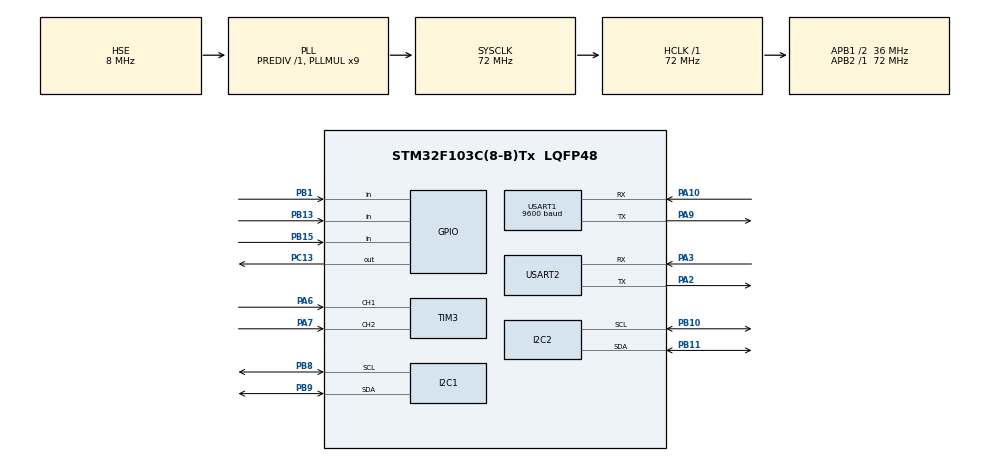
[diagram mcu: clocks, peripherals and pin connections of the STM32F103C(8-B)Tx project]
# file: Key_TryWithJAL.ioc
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Dma.Request0=USART2_TX
Dma.USART2_TX.0.Direction=DMA_MEMORY_TO_PERIPH
Dma.USART2_TX.0.Instance=DMA1_Channel7
Dma.USART2_TX.0.MemDataAlignment=DMA_MDATAALIGN_BYTE
Dma.USART2_TX.0.MemInc=DMA_MINC_ENABLE
Dma.USART2_TX.0.Mode=DMA_CIRCULAR
Dma.USART2_TX.0.PeriphDataAlignment=DMA_PDATAALIGN_BYTE
Dma.USART2_TX.0.PeriphInc=DMA_PINC_DISABLE
Dma.USART2_TX.0.Priority=DMA_PRIORITY_HIGH
Mcu.Family=STM32F1
Mcu.Name=STM32F103C(8-B)Tx
Mcu.Package=LQFP48
NVIC.DMA1_Channel7_IRQn=true\:0\:0\:false\:false\:true\:false\:true\:true
NVIC.PriorityGroup=NVIC_PRIORITYGROUP_2
NVIC.TIM1_UP_IRQn=true\:1\:1\:true\:false\:true\:true\:true\:true
NVIC.USART1_IRQn=true\:1\:1\:true\:false\:true\:true\:true\:true
PA10.GPIO_PuPd=GPIO_PULLUP
PA10.Mode=Asynchronous
PA10.Signal=USART1_RX
PA13.Mode=Serial_Wire
PA13.Signal=SYS_JTMS-SWDIO
PA14.Mode=Serial_Wire
PA14.Signal=SYS_JTCK-SWCLK
PA2.Mode=Asynchronous
PA2.Signal=USART2_TX
PA3.GPIO_PuPd=GPIO_PULLUP
PA3.Mode=Asynchronous
PA3.Signal=USART2_RX
PA6.Signal=S_TIM3_CH1
PA7.Signal=S_TIM3_CH2
PA9.Mode=Asynchronous
PA9.Signal=USART1_TX
PB1.GPIO_PuPd=GPIO_PULLUP
PB1.Signal=GPIO_Input
PB10.Mode=I2C
PB10.Signal=I2C2_SCL
PB11.Mode=I2C
PB11.Signal=I2C2_SDA
PB13.GPIO_PuPd=GPIO_PULLDOWN
PB13.Signal=GPIO_Input
PB15.GPIO_PuPd=GPIO_PULLDOWN
PB15.Signal=GPIO_Input
PB8.Mode=I2C
PB8.Signal=I2C1_SCL
PB9.Mode=I2C
PB9.Signal=I2C1_SDA
PC13-TAMPER-RTC.Signal=GPIO_Output
PD0-OSC_IN.Mode=HSE-External-Oscillator
PD0-OSC_IN.Signal=RCC_OSC_IN
PD1-OSC_OUT.Mode=HSE-External-Oscillator
PD1-OSC_OUT.Signal=RCC_OSC_OUT
ProjectManager.HeapSize=0x200
ProjectManager.StackSize=0x400
ProjectManager.TargetToolchain=MDK-ARM V5.32
RCC.AHBFreq_Value=72000000
RCC.APB1CLKDivider=RCC_HCLK_DIV2
RCC.APB1Freq_Value=36000000
RCC.APB1TimFreq_Value=72000000
RCC.APB2Freq_Value=72000000
RCC.APB2TimFreq_Value=72000000
RCC.HCLKFreq_Value=72000000
RCC.PLLMUL=RCC_PLL_MUL9
RCC.PLLSourceVirtual=RCC_PLLSOURCE_HSE
RCC.SYSCLKFreq_VALUE=72000000
RCC.SYSCLKSource=RCC_SYSCLKSOURCE_PLLCLK
RCC.USBFreq_Value=72000000
SH.S_TIM3_CH1.0=TIM3_CH1,Encoder_Interface
SH.S_TIM3_CH2.0=TIM3_CH2,Encoder_Interface
TIM1.AutoReloadPreload=TIM_AUTORELOAD_PRELOAD_ENABLE
TIM1.Period=999
TIM1.Prescaler=71
TIM2.AutoReloadPreload=TIM_AUTORELOAD_PRELOAD_ENABLE
TIM2.Prescaler=71
TIM3.EncoderMode=TIM_ENCODERMODE_TI12
TIM3.IC1Filter=15
TIM3.IC2Filter=15
USART1.BaudRate=9600
USART1.VirtualMode=VM_ASYNC
USART2.VirtualMode=VM_ASYNC
VP_TIM1_VS_ClockSourceINT.Mode=Internal
VP_TIM2_VS_ClockSourceINT.Mode=Internal
board=custom

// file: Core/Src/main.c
/* USER CODE BEGIN Header */
/**
 ******************************************************************************
 * @file           : main.c
 * @brief          : Main program body
 ******************************************************************************
 * @attention
 *
 * Copyright (c) 2026 STMicroelectronics.
 * All rights reserved.
 *
 * This software is licensed under terms that can be found in the LICENSE file
 * in the root directory of this software component.
 * If no LICENSE file comes with this software, it is provided AS-IS.
 *
 ******************************************************************************
 */
/* USER CODE END Header */
#include "main.h"
#include "dma.h"
#include "i2c.h"
#include "tim.h"
#include "usart.h"
#include "gpio.h"

/* USER CODE BEGIN Includes */
#include "string.h"
#include <math.h>
#include <stdlib.h>
#include "OLED.h"
#include "key.h"
#include "BLE_Serial.h"
#include "MPU6050.h"
#include "vofa.h"
#include "Encoder.h"
#include "bsp_dwt.h"
/* USER CODE END Includes */

/* USER CODE BEGIN PV */
uint16_t Num1;
uint16_t Num2;
uint8_t ID;                     // 定义用于存放ID号的变量
int16_t AX, AY, AZ, GX, GY, GZ; // 定义用于存放各个数据的变量
int16_t speed;
uint16_t count;
		static int32_t c = 0;
/* USER CODE END PV */

void SystemClock_Config(void);

/* USER CODE BEGIN 0 */
void HAL_TIM_PeriodElapsedCallback(TIM_HandleTypeDef *htim)
{
  if (htim->Instance == TIM1)
  {

		c++;
    Key_Tick(); // 例如：1ms调用一次按键扫描
    count++;
    if (count == 1000)
    {
      speed = Encoder_Get(); // 轮速计测量
      count = 0;
    }
  }
}
/* USER CODE END 0 */

int main(void)
{

  /* MCU Configuration--------------------------------------------------------*/

  /* Reset of all peripherals, Initializes the Flash interface and the Systick. */
  HAL_Init();

  /* Configure the system clock */
  SystemClock_Config();

  /* Initialize all configured peripherals */
  MX_GPIO_Init();
  MX_DMA_Init();
  MX_TIM1_Init();
  MX_I2C1_Init();
  MX_USART1_UART_Init();
  MX_TIM2_Init();
  MX_I2C2_Init();
  MX_USART2_UART_Init();
  MX_TIM3_Init();
  /* USER CODE BEGIN 2 */
  HAL_TIM_Base_Start_IT(&htim1); // 启动TIM1
  HAL_TIM_Base_Start(&htim2);    // 启动TIM2
  OLED_GPIO_ForceInit();
  OLED_Init();
  BLE_Serial_Init();
  MPU6050_Init();
  Encoder_Init();
	DWT_Init(72);
  /* USER CODE END 2 */

  /* Infinite loop */
  /* USER CODE BEGIN WHILE */
  while (1)
  {
		OLED_Printf(0,0,OLED_8X16, "按");
//		uint32_t cnt = DWT->CYCCNT;
//	  OLED_Printf(0, 0, OLED_8X16, "1");
////		OLED_Update();
////		HAL_Delay(2000);
//		float dt = DWT_GetDeltaT(&cnt);

//		OLED_Printf(0, 0, OLED_8X16, "time:%f",dt);
//		float msdt =DWT_GetTimeline_ms();
//		OLED_Printf(0, 16, OLED_8X16, "%f",msdt);
//		OLED_Printf(0, 32, OLED_8X16, "%05d",c);
		OLED_Update();
    /* USER CODE END WHILE */

  }
}

void SystemClock_Config(void)
{
  RCC_OscInitTypeDef RCC_OscInitStruct = {0};
  RCC_ClkInitTypeDef RCC_ClkInitStruct = {0};

  /** Initializes the RCC Oscillators according to the specified parameters
  * in the RCC_OscInitTypeDef structure.
  */
  RCC_OscInitStruct.OscillatorType = RCC_OSCILLATORTYPE_HSE;
  RCC_OscInitStruct.HSEState = RCC_HSE_ON;
  RCC_OscInitStruct.HSEPredivValue = RCC_HSE_PREDIV_DIV1;
  RCC_OscInitStruct.HSIState = RCC_HSI_ON;
  RCC_OscInitStruct.PLL.PLLState = RCC_PLL_ON;
  RCC_OscInitStruct.PLL.PLLSource = RCC_PLLSOURCE_HSE;
  RCC_OscInitStruct.PLL.PLLMUL = RCC_PLL_MUL9;
  if (HAL_RCC_OscConfig(&RCC_OscInitStruct) != HAL_OK)
  {
    Error_Handler();
  }

  /** Initializes the CPU, AHB and APB buses clocks
  */
  RCC_ClkInitStruct.ClockType = RCC_CLOCKTYPE_HCLK|RCC_CLOCKTYPE_SYSCLK
                              |RCC_CLOCKTYPE_PCLK1|RCC_CLOCKTYPE_PCLK2;
  RCC_ClkInitStruct.SYSCLKSource = RCC_SYSCLKSOURCE_PLLCLK;
  RCC_ClkInitStruct.AHBCLKDivider = RCC_SYSCLK_DIV1;
  RCC_ClkInitStruct.APB1CLKDivider = RCC_HCLK_DIV2;
  RCC_ClkInitStruct.APB2CLKDivider = RCC_HCLK_DIV1;

  if (HAL_RCC_ClockConfig(&RCC_ClkInitStruct, FLASH_LATENCY_2) != HAL_OK)
  {
    Error_Handler();
  }
}

void Error_Handler(void)
{
  __disable_irq();
  while (1)
  {
  }
}
